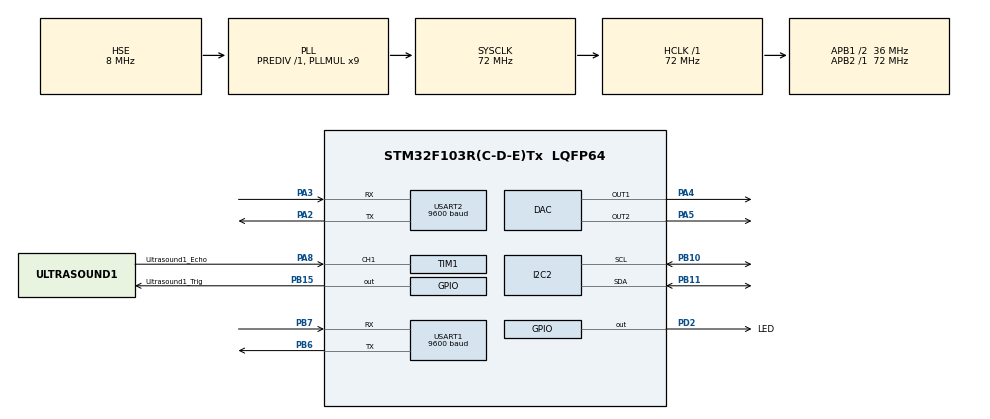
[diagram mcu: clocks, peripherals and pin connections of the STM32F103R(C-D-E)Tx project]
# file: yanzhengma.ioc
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DAC.DAC_OutputBuffer=DAC_OUTPUTBUFFER_DISABLE
DAC.DAC_OutputBuffer2=DAC_OUTPUTBUFFER_DISABLE
Dma.I2C2_TX.2.Direction=DMA_MEMORY_TO_PERIPH
Dma.I2C2_TX.2.Instance=DMA1_Channel4
Dma.I2C2_TX.2.MemDataAlignment=DMA_MDATAALIGN_BYTE
Dma.I2C2_TX.2.MemInc=DMA_MINC_ENABLE
Dma.I2C2_TX.2.Mode=DMA_NORMAL
Dma.I2C2_TX.2.PeriphDataAlignment=DMA_PDATAALIGN_BYTE
Dma.I2C2_TX.2.PeriphInc=DMA_PINC_DISABLE
Dma.I2C2_TX.2.Priority=DMA_PRIORITY_LOW
Dma.Request0=USART2_RX
Dma.Request1=USART1_RX
Dma.Request2=I2C2_TX
Dma.USART1_RX.1.Direction=DMA_PERIPH_TO_MEMORY
Dma.USART1_RX.1.Instance=DMA1_Channel5
Dma.USART1_RX.1.MemDataAlignment=DMA_MDATAALIGN_BYTE
Dma.USART1_RX.1.MemInc=DMA_MINC_ENABLE
Dma.USART1_RX.1.Mode=DMA_NORMAL
Dma.USART1_RX.1.PeriphDataAlignment=DMA_PDATAALIGN_BYTE
Dma.USART1_RX.1.PeriphInc=DMA_PINC_DISABLE
Dma.USART1_RX.1.Priority=DMA_PRIORITY_LOW
Dma.USART2_RX.0.Direction=DMA_PERIPH_TO_MEMORY
Dma.USART2_RX.0.Instance=DMA1_Channel6
Dma.USART2_RX.0.MemDataAlignment=DMA_MDATAALIGN_BYTE
Dma.USART2_RX.0.MemInc=DMA_MINC_ENABLE
Dma.USART2_RX.0.Mode=DMA_NORMAL
Dma.USART2_RX.0.PeriphDataAlignment=DMA_PDATAALIGN_BYTE
Dma.USART2_RX.0.PeriphInc=DMA_PINC_DISABLE
Dma.USART2_RX.0.Priority=DMA_PRIORITY_LOW
I2C2.I2C_Mode=I2C_Fast
Mcu.Family=STM32F1
Mcu.Name=STM32F103R(C-D-E)Tx
Mcu.Package=LQFP64
NVIC.DMA1_Channel4_IRQn=true\:0\:0\:false\:false\:true\:false\:true
NVIC.DMA1_Channel5_IRQn=true\:0\:0\:false\:false\:true\:false\:true
NVIC.DMA1_Channel6_IRQn=true\:0\:0\:false\:false\:true\:false\:true
NVIC.I2C2_EV_IRQn=true\:0\:0\:false\:false\:true\:true\:true
NVIC.PriorityGroup=NVIC_PRIORITYGROUP_4
NVIC.TIM1_CC_IRQn=true\:0\:0\:false\:false\:true\:true\:true
NVIC.USART1_IRQn=true\:0\:0\:false\:false\:true\:true\:true
NVIC.USART2_IRQn=true\:0\:0\:false\:false\:true\:true\:true
PA13.Mode=Serial_Wire
PA13.Signal=SYS_JTMS-SWDIO
PA14.Mode=Serial_Wire
PA14.Signal=SYS_JTCK-SWCLK
PA2.Mode=Asynchronous
PA2.Signal=USART2_TX
PA3.Mode=Asynchronous
PA3.Signal=USART2_RX
PA4.Signal=COMP_DAC1_group
PA5.Signal=COMP_DAC2_group
PA8.GPIO_Label=Ultrasound1_Echo
PA8.Signal=S_TIM1_CH1
PB10.Mode=I2C
PB10.Signal=I2C2_SCL
PB11.Mode=I2C
PB11.Signal=I2C2_SDA
PB15.GPIO_Label=Ultrasound1_Trig
PB15.Signal=GPIO_Output
PB6.Mode=Asynchronous
PB6.Signal=USART1_TX
PB7.Mode=Asynchronous
PB7.Signal=USART1_RX
PD0-OSC_IN.Mode=HSE-External-Oscillator
PD0-OSC_IN.Signal=RCC_OSC_IN
PD1-OSC_OUT.Mode=HSE-External-Oscillator
PD1-OSC_OUT.Signal=RCC_OSC_OUT
PD2.GPIO_Label=LED
PD2.Signal=GPIO_Output
ProjectManager.HeapSize=0x200
ProjectManager.StackSize=0x400
ProjectManager.TargetToolchain=Makefile
RCC.AHBFreq_Value=72000000
RCC.APB1CLKDivider=RCC_HCLK_DIV2
RCC.APB1Freq_Value=36000000
RCC.APB1TimFreq_Value=72000000
RCC.APB2Freq_Value=72000000
RCC.APB2TimFreq_Value=72000000
RCC.HCLKFreq_Value=72000000
RCC.PLLMUL=RCC_PLL_MUL9
RCC.PLLSourceVirtual=RCC_PLLSOURCE_HSE
RCC.SYSCLKFreq_VALUE=72000000
RCC.SYSCLKSource=RCC_SYSCLKSOURCE_PLLCLK
RCC.USBFreq_Value=72000000
SH.COMP_DAC1_group.0=DAC_OUT1,DAC_OUT1
SH.COMP_DAC2_group.0=DAC_OUT2,DAC_OUT2
SH.S_TIM1_CH1.0=TIM1_CH1,Input_Capture1_from_TI1
TIM1.Channel-Input_Capture1_from_TI1=TIM_CHANNEL_1
TIM1.Period=0xffff
TIM1.Prescaler=72-1
USART1.BaudRate=9600
USART1.VirtualMode=VM_ASYNC
USART2.BaudRate=9600
USART2.VirtualMode=VM_ASYNC
board=custom

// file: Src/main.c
/* USER CODE BEGIN Header */
/**
  ******************************************************************************
  * @file           : main.c
  * @brief          : Main program body
  ******************************************************************************
  * @attention
  *
  * <h2><center>&copy; Copyright (c) 2021 STMicroelectronics.
  * All rights reserved.</center></h2>
  *
  * This software component is licensed by ST under BSD 3-Clause license,
  * the "License"; You may not use this file except in compliance with the
  * License. You may obtain a copy of the License at:
  *                        opensource.org/licenses/BSD-3-Clause
  *
  ******************************************************************************
  */
/* USER CODE END Header */

#include "main.h"
#include "dac.h"
#include "dma.h"
#include "i2c.h"
#include "tim.h"
#include "usart.h"
#include "gpio.h"
#include "delay.h"
#include "draw_api.h"
#include "test.h"

/* USER CODE BEGIN PD */
#define MAX_LEN 16
/* USER CODE END PD */

/* USER CODE BEGIN PV */
uint8_t u2_RX_Buf[MAX_LEN];
uint8_t u2_RX_ReceiveBit;
int rx_len = 0;
char verif_str[7];
uint8_t receive_flag = 0;
/* USER CODE END PV */

void SystemClock_Config(void);

int main(void)
{

  /* MCU Configuration--------------------------------------------------------*/

  /* Reset of all peripherals, Initializes the Flash interface and the Systick. */
  HAL_Init();

  /* Configure the system clock */
  SystemClock_Config();

  /* Initialize all configured peripherals */
  MX_GPIO_Init();
  MX_DMA_Init();
  MX_USART1_UART_Init();
  MX_DAC_Init();
  MX_TIM1_Init();
  MX_USART2_UART_Init();
  MX_I2C2_Init();
  delay_init();
  InitGraph();
  oledPrintf(0, 0, "Hello world");
  /* USER CODE BEGIN 2 */
  HAL_DAC_Start(&hdac, DAC_CHANNEL_1);
  HAL_TIM_IC_Start(&htim1, TIM_CHANNEL_1);
  HAL_DAC_Start(&hdac, DAC_CHANNEL_2);
  HAL_UART_Receive_DMA(&huart2, u2_RX_Buf, RX_BUF_LEN);
  /* USER CODE END 2 */

  /* Infinite loop */
  while (1)
  {

    /* USER CODE BEGIN 3 */

    int verif_code = rand() % 1000000;
    oledPrintf(0, 16, "Please input");
    oledPrintf(0, 28, "verification code");
    oledPrintf(0, 40, "%d", verif_code);
    UpdateScreen();
    while (1)
    {
      if(strlen(u2_RX_Buf)!=0)receive_flag =1;
      if (receive_flag)
      {
        u2_RX_Buf[6] = '\0';
        itoa(verif_code, verif_str, 10);
        verif_str[6] = '\0';
        u1_printf("rx buf: %s, verif str: %s", u2_RX_Buf, verif_str);
        if (!strcmp(u2_RX_Buf, verif_str))
        {
          oledPrintf(0, 0, "Correct!      ");
          UpdateScreen();
          delay_ms(5000);
          oledPrintf(0, 0, "         ");
          UpdateScreen();
          receive_flag = 0;
          break;
        }
        else
        {
          oledPrintf(0, 0, "Incorrect...");
          UpdateScreen();
        }
        receive_flag = 0;
      }
      delay_ms(100);
    }
  }
  /* USER CODE END 3 */
}

void SystemClock_Config(void)
{
  RCC_OscInitTypeDef RCC_OscInitStruct = {0};
  RCC_ClkInitTypeDef RCC_ClkInitStruct = {0};

  /** Initializes the CPU, AHB and APB busses clocks
  */
  RCC_OscInitStruct.OscillatorType = RCC_OSCILLATORTYPE_HSE;
  RCC_OscInitStruct.HSEState = RCC_HSE_ON;
  RCC_OscInitStruct.HSEPredivValue = RCC_HSE_PREDIV_DIV1;
  RCC_OscInitStruct.HSIState = RCC_HSI_ON;
  RCC_OscInitStruct.PLL.PLLState = RCC_PLL_ON;
  RCC_OscInitStruct.PLL.PLLSource = RCC_PLLSOURCE_HSE;
  RCC_OscInitStruct.PLL.PLLMUL = RCC_PLL_MUL9;
  if (HAL_RCC_OscConfig(&RCC_OscInitStruct) != HAL_OK)
  {
    Error_Handler();
  }
  /** Initializes the CPU, AHB and APB busses clocks
  */
  RCC_ClkInitStruct.ClockType = RCC_CLOCKTYPE_HCLK | RCC_CLOCKTYPE_SYSCLK | RCC_CLOCKTYPE_PCLK1 | RCC_CLOCKTYPE_PCLK2;
  RCC_ClkInitStruct.SYSCLKSource = RCC_SYSCLKSOURCE_PLLCLK;
  RCC_ClkInitStruct.AHBCLKDivider = RCC_SYSCLK_DIV1;
  RCC_ClkInitStruct.APB1CLKDivider = RCC_HCLK_DIV2;
  RCC_ClkInitStruct.APB2CLKDivider = RCC_HCLK_DIV1;

  if (HAL_RCC_ClockConfig(&RCC_ClkInitStruct, FLASH_LATENCY_2) != HAL_OK)
  {
    Error_Handler();
  }
}

void Error_Handler(void)
{
}

/************************ (C) COPYRIGHT STMicroelectronics *****END OF FILE****/
